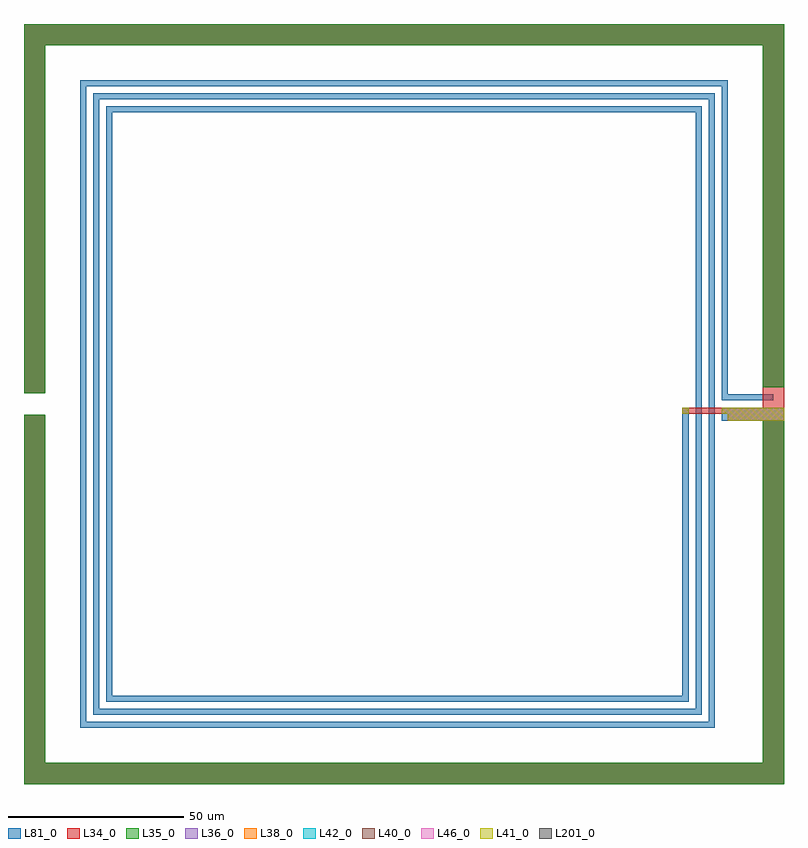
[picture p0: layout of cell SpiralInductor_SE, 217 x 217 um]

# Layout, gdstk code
import gdstk
lib = gdstk.Library(unit=1e-6, precision=1e-09)
def R(c, l, rs):  # rectangles x0, y0, x1, y1
    for r in rs: c.add(gdstk.rectangle(r[:2], r[2:], *l))
def P(c, l, *ps):  # polygons
    for p in ps: c.add(gdstk.Polygon(p, *l))
L34_0 = (34, 0)
L35_0 = (35, 0)
L36_0 = (36, 0)
L38_0 = (38, 0)
L40_0 = (40, 0)
L41_0 = (41, 0)
L42_0 = (42, 0)
L46_0 = (46, 0)
L81_0 = (81, 0)
L201_0 = (201, 0)

spiralinductor_se = lib.new_cell('SpiralInductor_SE')
R(spiralinductor_se, L34_0, [(-108.5,-108.5,108.5,-102.5), (-108.5,-108.5,-102.5,-3), (102.5,-108.5,108.5,108.5), (92.5,-4.75,108.5,-1), (79.5,-2.75,92.5,-1), (-108.5,3,-102.5,108.5), (-108.5,102.5,108.5,108.5)])
R(spiralinductor_se, L35_0, [(-108.5,-108.5,108.5,-102.5), (-108.5,-108.5,-102.5,-3), (102.5,-108.5,108.5,-4.75), (92.5,-4.75,108.5,-1), (79.5,-2.75,81.25,-1), (90.75,-2.75,92.5,-1), (-108.5,3,-102.5,108.5), (102.5,4.75,108.5,108.5), (-108.5,102.5,108.5,108.5)])
R(spiralinductor_se, L36_0, [(92.5,-4.75,108.5,-1), (79.5,-2.75,81.25,-1), (90.75,-2.75,92.5,-1)])
R(spiralinductor_se, L38_0, [(92.5,-4.75,108.5,-1), (79.5,-2.75,81.25,-1), (90.75,-2.75,92.5,-1)])
R(spiralinductor_se, L40_0, [(92.5,-4.75,108.5,-1), (79.5,-2.75,81.25,-1), (90.75,-2.75,92.5,-1)])
R(spiralinductor_se, L41_0, [(92.5,-4.75,108.5,-1), (79.5,-2.75,81.25,-1), (90.75,-2.75,92.5,-1)])
R(spiralinductor_se, L42_0, [(92.5,-4.75,108.5,-1), (79.5,-2.75,81.25,-1), (90.75,-2.75,92.5,-1)])
R(spiralinductor_se, L46_0, [(92.5,-4.75,108.5,-1), (79.5,-2.75,81.25,-1), (90.75,-2.75,92.5,-1)])
R(spiralinductor_se, L81_0, [(-108.5,-108.5,108.5,-102.5), (-108.5,-108.5,-102.5,-3), (102.5,-108.5,108.5,-4.75), (90.75,-4.75,108.5,-1), (-108.5,3,-102.5,108.5), (102.5,4.75,108.5,108.5), (-108.5,102.5,108.5,108.5)])
P(spiralinductor_se, L81_0, [(-92.5,-92.5),(-92.5,92.5),(92.5,92.5),(92.5,2.75),(105.5,2.75),(105.5,1),(90.75,1),(90.75,90.75),(-90.75,90.75),(-90.75,-90.75),(87,-90.75),(87,87),(-87,87),(-87,-87),(83.25,-87),(83.25,83.25),(-83.25,83.25),(-83.25,-83.25),(79.5,-83.25),(79.5,-1),(81.25,-1),(81.25,-85),(-85,-85),(-85,85),(85,85),(85,-88.75),(-88.75,-88.75),(-88.75,88.75),(88.75,88.75),(88.75,-92.5)])
P(spiralinductor_se, L201_0, [(105.5,1),(105.5,2.75),(105.5,2.75),(105.5,1)])

lib.write_gds('SpiralInductor_SE.gds')
